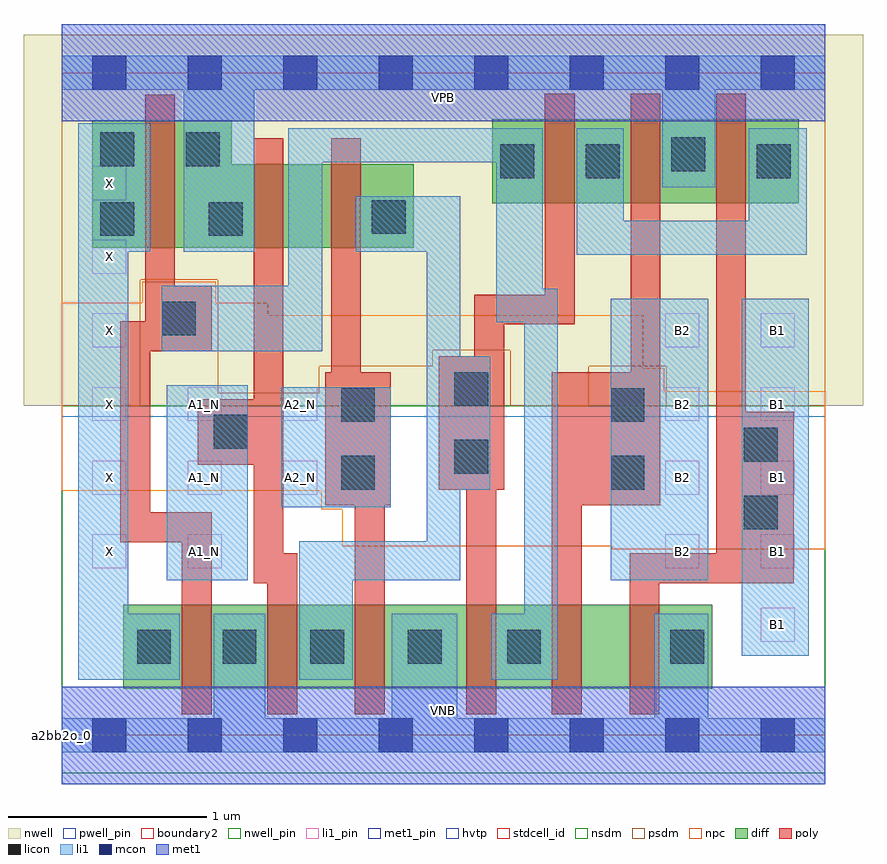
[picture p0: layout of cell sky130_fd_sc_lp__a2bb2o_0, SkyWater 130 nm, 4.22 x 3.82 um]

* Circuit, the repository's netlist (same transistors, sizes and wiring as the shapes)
* Copyright 2020 The SkyWater PDK Authors
*
* Licensed under the Apache License, Version 2.0 (the "License");
* you may not use this file except in compliance with the License.
* You may obtain a copy of the License at
*
*     https://www.apache.org/licenses/LICENSE-2.0
*
* Unless required by applicable law or agreed to in writing, software
* distributed under the License is distributed on an "AS IS" BASIS,
* WITHOUT WARRANTIES OR CONDITIONS OF ANY KIND, either express or implied.
* See the License for the specific language governing permissions and
* limitations under the License.
*
* SPDX-License-Identifier: Apache-2.0

.SUBCKT sky130_fd_sc_lp__a2bb2o_0 A1_N A2_N B1 B2 VGND VNB VPB VPWR X
*.PININFO A1_N:I A2_N:I B1:I B2:I VGND:I VNB:I VPB:I VPWR:I X:O
MMIN2 X y VGND VNB sky130_fd_pr__nfet_01v8 m=1 w=0.42U l=0.15U mult=1 sa=0.265
+ sb=0.265 sd=0.28 area=0.063 perim=1.14
MMNnor0 inor A1_N VGND VNB sky130_fd_pr__nfet_01v8 m=1 w=0.42U l=0.15U mult=1 sa=0.265
+ sb=0.265 sd=0.28 area=0.063 perim=1.14
MMNnor1 inor A2_N VGND VNB sky130_fd_pr__nfet_01v8 m=1 w=0.42U l=0.15U mult=1 sa=0.265
+ sb=0.265 sd=0.28 area=0.063 perim=1.14
MMNaoi10 VGND B1 sndNB1 VNB sky130_fd_pr__nfet_01v8 m=1 w=0.42U l=0.15U mult=1
+ sa=0.265 sb=0.265 sd=0.28 area=0.063 perim=1.14
MMNaoi11 sndNB1 B2 y VNB sky130_fd_pr__nfet_01v8 m=1 w=0.42U l=0.15U mult=1 sa=0.265
+ sb=0.265 sd=0.28 area=0.063 perim=1.14
MMNaoi20 y inor VGND VNB sky130_fd_pr__nfet_01v8 m=1 w=0.42U l=0.15U mult=1 sa=0.265
+ sb=0.265 sd=0.28 area=0.063 perim=1.14
MMIP2 X y VPWR VPB sky130_fd_pr__pfet_01v8_hvt m=1 w=0.64U l=0.15U mult=1 sa=0.265
+ sb=0.265 sd=0.28 area=0.063 perim=1.14
MMPnor0 VPWR A1_N sndPA1N VPB sky130_fd_pr__pfet_01v8_hvt m=1 w=0.42U l=0.15U mult=1
+ sa=0.265 sb=0.265 sd=0.28 area=0.063 perim=1.14
MMPnor1 sndPA1N A2_N inor VPB sky130_fd_pr__pfet_01v8_hvt m=1 w=0.42U l=0.15U mult=1
+ sa=0.265 sb=0.265 sd=0.28 area=0.063 perim=1.14
MMPaoi10 pmid B1 VPWR VPB sky130_fd_pr__pfet_01v8_hvt m=1 w=0.42U l=0.15U mult=1
+ sa=0.265 sb=0.265 sd=0.28 area=0.063 perim=1.14
MMPaoi11 pmid B2 VPWR VPB sky130_fd_pr__pfet_01v8_hvt m=1 w=0.42U l=0.15U mult=1
+ sa=0.265 sb=0.265 sd=0.28 area=0.063 perim=1.14
MMPaoi20 y inor pmid VPB sky130_fd_pr__pfet_01v8_hvt m=1 w=0.42U l=0.15U mult=1
+ sa=0.265 sb=0.265 sd=0.28 area=0.063 perim=1.14
.ENDS sky130_fd_sc_lp__a2bb2o_0

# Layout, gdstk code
import gdstk
lib = gdstk.Library(unit=1e-6, precision=1e-09)
def R(c, l, rs):  # rectangles x0, y0, x1, y1
    for r in rs: c.add(gdstk.rectangle(r[:2], r[2:], *l))
def A(c, l, x, y, w, h, nx, ny, dx, dy):  # array of equal rectangles
    R(c, l, [(x+i*dx, y+j*dy, x+i*dx+w, y+j*dy+h) for i in range(nx) for j in range(ny)])
def P(c, l, *ps):  # polygons
    for p in ps: c.add(gdstk.Polygon(p, *l))
nwell_pin = (64, 16)
nwell = (64, 20)
diff = (65, 20)
poly = (66, 20)
licon = (66, 44)
li1_pin = (67, 16)
li1 = (67, 20)
mcon = (67, 44)
met1_pin = (68, 16)
met1 = (68, 20)
hvtp = (78, 44)
stdcell_id = (81, 4)
nsdm = (93, 44)
psdm = (94, 20)
npc = (95, 20)
pwell_pin = (122, 16)
boundary2 = (236, 0)

sky130_fd_sc_lp__a2bb2o_ = lib.new_cell('sky130_fd_sc_lp__a2bb2o_0')
R(sky130_fd_sc_lp__a2bb2o_, nwell_pin, [(0,3.085,3.84,3.33)])
R(sky130_fd_sc_lp__a2bb2o_, nwell, [(-0.19,1.655,4.03,3.52)])
R(sky130_fd_sc_lp__a2bb2o_, diff, [(0.31,0.235,3.27,0.655), (2.165,2.675,3.705,3.095)])
P(sky130_fd_sc_lp__a2bb2o_, diff, [(1.77,2.87),(0.855,2.87),(0.855,3.09),(0.155,3.09),(0.155,2.45),(1.77,2.45)])
P(sky130_fd_sc_lp__a2bb2o_, poly, [(0.755,2.26),(0.57,2.26),(0.57,3.22),(0.42,3.22),(0.42,2.08),(0.295,2.08),(0.295,0.97),(0.605,0.97),(0.605,0.105),(0.755,0.105),(0.755,1.12),(0.445,1.12),(0.445,1.93),(0.755,1.93)],
  [(1.185,0.915),(1.115,0.915),(1.115,3),(0.965,3),(0.965,1.69),(0.685,1.69),(0.685,1.36),(0.965,1.36),(0.965,0.765),(1.035,0.765),(1.035,0.105),(1.185,0.105)],
  [(1.655,1.825),(1.505,1.825),(1.505,3),(1.355,3),(1.355,1.825),(1.325,1.825),(1.325,1.155),(1.475,1.155),(1.475,0.105),(1.625,0.105),(1.625,1.155),(1.655,1.155)],
  [(2.58,3.225),(2.43,3.225),(2.43,2.215),(2.075,2.215),(2.075,1.905),(1.895,1.905),(1.895,1.235),(2.035,1.235),(2.035,0.105),(2.185,0.105),(2.185,1.235),(2.225,1.235),(2.225,2.065),(2.58,2.065)],
  [(3.01,3.225),(2.86,3.225),(2.86,1.825),(2.465,1.825),(2.465,0.105),(2.615,0.105),(2.615,1.155),(3.01,1.155)],
  [(3.68,1.625),(3.44,1.625),(3.44,3.225),(3.29,3.225),(3.29,0.915),(2.855,0.915),(2.855,0.105),(3.005,0.105),(3.005,0.765),(3.68,0.765)])
R(sky130_fd_sc_lp__a2bb2o_, licon, [(0.38,0.36,0.55,0.53), (0.81,0.36,0.98,0.53), (1.25,0.36,1.42,0.53), (1.74,0.36,1.91,0.53), (2.24,0.36,2.41,0.53), (3.06,0.36,3.23,0.53), (3.43,1.035,3.6,1.205), (1.405,1.235,1.575,1.405), (2.76,1.235,2.93,1.405), (1.975,1.315,2.145,1.485), (3.43,1.375,3.6,1.545), (0.765,1.44,0.935,1.61), (1.405,1.575,1.575,1.745), (2.76,1.575,2.93,1.745), (1.975,1.655,2.145,1.825), (0.505,2.01,0.675,2.18), (0.195,2.51,0.365,2.68), (0.74,2.51,0.91,2.68), (1.56,2.52,1.73,2.69), (2.205,2.8,2.375,2.97), (2.635,2.8,2.805,2.97), (3.495,2.8,3.665,2.97), (3.065,2.835,3.235,3.005), (0.195,2.86,0.365,3.03), (0.625,2.86,0.795,3.03)])
A(sky130_fd_sc_lp__a2bb2o_, li1_pin, 3.515, 0.47, 0.17, 0.17, 1, 5, 0, 0.37)
A(sky130_fd_sc_lp__a2bb2o_, li1_pin, 3.035, 0.84, 0.17, 0.17, 1, 4, 0, 0.37)
A(sky130_fd_sc_lp__a2bb2o_, li1_pin, 0.155, 1.21, 0.17, 0.17, 3, 2, 0.48, 0.37)
A(sky130_fd_sc_lp__a2bb2o_, li1_pin, 0.155, 1.95, 0.17, 0.17, 1, 3, 0, 0.37)
R(sky130_fd_sc_lp__a2bb2o_, li1_pin, [(0.155,0.84,0.325,1.01), (0.635,0.84,0.805,1.01)])
R(sky130_fd_sc_lp__a2bb2o_, li1, [(3.42,0.4,3.755,2.195), (0.53,0.78,0.935,1.76), (2.76,0.78,3.25,2.195), (1.105,1.145,1.655,1.75)])
P(sky130_fd_sc_lp__a2bb2o_, li1, [(0.595,0.61),(0.335,0.61),(0.335,2.43),(0.445,2.43),(0.445,3.075),(0.085,3.075),(0.085,0.28),(0.595,0.28)],
  [(2.155,1.905),(2.005,1.905),(2.005,2.71),(1.48,2.71),(1.48,2.43),(1.835,2.43),(1.835,0.975),(1.195,0.975),(1.195,0.28),(1.465,0.28),(1.465,0.78),(2.005,0.78),(2.005,1.235),(2.155,1.235)],
  [(2.495,2.245),(2.42,2.245),(2.42,3.05),(1.14,3.05),(1.14,2.26),(0.505,2.26),(0.505,1.93),(1.31,1.93),(1.31,2.88),(2.185,2.88),(2.185,2.075),(2.325,2.075),(2.325,0.61),(2.16,0.61),(2.16,0.28),(2.495,0.28)],
  [(3.745,3.05),(3.455,3.05),(3.455,2.585),(2.825,2.585),(2.825,3.05),(2.59,3.05),(2.59,2.415),(3.745,2.415)],
  [(3.84,3.415),(0,3.415),(0,3.245),(0.615,3.245),(0.615,2.43),(0.97,2.43),(0.97,3.245),(3.02,3.245),(3.02,2.755),(3.285,2.755),(3.285,3.245),(3.84,3.245)],
  [(3.84,0.085),(3.25,0.085),(3.25,0.61),(2.98,0.61),(2.98,0.085),(1.99,0.085),(1.99,0.61),(1.66,0.61),(1.66,0.085),(1.025,0.085),(1.025,0.61),(0.765,0.61),(0.765,0.085),(0,0.085),(0,-0.085),(3.84,-0.085)])
A(sky130_fd_sc_lp__a2bb2o_, mcon, 0.155, -0.085, 0.17, 0.17, 8, 2, 0.48, 3.33)
R(sky130_fd_sc_lp__a2bb2o_, met1_pin, [(0,0,3.84,0.245), (0,3.085,3.84,3.33)])
R(sky130_fd_sc_lp__a2bb2o_, met1, [(0,-0.245,3.84,0.245), (0,3.085,3.84,3.575)])
R(sky130_fd_sc_lp__a2bb2o_, hvtp, [(0,1.6,3.84,3.33)])
R(sky130_fd_sc_lp__a2bb2o_, stdcell_id, [(0,0,3.84,3.33)])
R(sky130_fd_sc_lp__a2bb2o_, nsdm, [(0,-0.19,3.84,1.655)])
P(sky130_fd_sc_lp__a2bb2o_, psdm, [(3.84,3.52),(0,3.52),(0,1.655),(0.395,1.655),(0.395,2.29),(0.785,2.29),(0.785,1.72),(1.295,1.72),(1.295,1.855),(1.865,1.855),(1.865,1.935),(2.255,1.935),(2.255,1.655),(2.65,1.655),(2.65,1.855),(3.04,1.855),(3.04,1.655),(3.84,1.655)])
P(sky130_fd_sc_lp__a2bb2o_, npc, [(3.84,1.73),(3.03,1.73),(3.03,1.845),(2.925,1.845),(2.925,2.11),(1.04,2.11),(1.04,2.175),(0.775,2.175),(0.775,2.28),(0.405,2.28),(0.405,2.175),(0,2.175),(0,1.23),(1.305,1.23),(1.305,1.135),(1.41,1.135),(1.41,0.95),(2.765,0.95),(2.765,0.935),(3.84,0.935)])
R(sky130_fd_sc_lp__a2bb2o_, pwell_pin, [(0,0,3.84,0.245)])
R(sky130_fd_sc_lp__a2bb2o_, boundary2, [(0,0,3.84,3.33)])
sky130_fd_sc_lp__a2bb2o_.add(gdstk.Label('VNB', (1.92,0.123), layer=64, texttype=59))
sky130_fd_sc_lp__a2bb2o_.add(gdstk.Label('VPB', (1.92,3.208), layer=64, texttype=5))
sky130_fd_sc_lp__a2bb2o_.add(gdstk.Label('a2bb2o_0', (0,0), layer=83, texttype=44))
sky130_fd_sc_lp__a2bb2o_.add(gdstk.Label('VPWR', (1.92,3.208), layer=68, texttype=5))
sky130_fd_sc_lp__a2bb2o_.add(gdstk.Label('VGND', (1.92,0.123), layer=68, texttype=5))
sky130_fd_sc_lp__a2bb2o_.add(gdstk.Label('A1_N', (0.72,0.925), layer=67, texttype=5))
sky130_fd_sc_lp__a2bb2o_.add(gdstk.Label('A1_N', (0.72,1.295), layer=67, texttype=5))
sky130_fd_sc_lp__a2bb2o_.add(gdstk.Label('A1_N', (0.72,1.665), layer=67, texttype=5))
sky130_fd_sc_lp__a2bb2o_.add(gdstk.Label('A2_N', (1.2,1.295), layer=67, texttype=5))
sky130_fd_sc_lp__a2bb2o_.add(gdstk.Label('A2_N', (1.2,1.665), layer=67, texttype=5))
sky130_fd_sc_lp__a2bb2o_.add(gdstk.Label('B1', (3.6,0.555), layer=67, texttype=5))
sky130_fd_sc_lp__a2bb2o_.add(gdstk.Label('B1', (3.6,0.925), layer=67, texttype=5))
sky130_fd_sc_lp__a2bb2o_.add(gdstk.Label('B1', (3.6,1.295), layer=67, texttype=5))
sky130_fd_sc_lp__a2bb2o_.add(gdstk.Label('B1', (3.6,1.665), layer=67, texttype=5))
sky130_fd_sc_lp__a2bb2o_.add(gdstk.Label('B1', (3.6,2.035), layer=67, texttype=5))
sky130_fd_sc_lp__a2bb2o_.add(gdstk.Label('B2', (3.12,0.925), layer=67, texttype=5))
sky130_fd_sc_lp__a2bb2o_.add(gdstk.Label('B2', (3.12,1.295), layer=67, texttype=5))
sky130_fd_sc_lp__a2bb2o_.add(gdstk.Label('B2', (3.12,1.665), layer=67, texttype=5))
sky130_fd_sc_lp__a2bb2o_.add(gdstk.Label('B2', (3.12,2.035), layer=67, texttype=5))
sky130_fd_sc_lp__a2bb2o_.add(gdstk.Label('X', (0.24,0.925), layer=67, texttype=5))
sky130_fd_sc_lp__a2bb2o_.add(gdstk.Label('X', (0.24,1.295), layer=67, texttype=5))
sky130_fd_sc_lp__a2bb2o_.add(gdstk.Label('X', (0.24,1.665), layer=67, texttype=5))
sky130_fd_sc_lp__a2bb2o_.add(gdstk.Label('X', (0.24,2.035), layer=67, texttype=5))
sky130_fd_sc_lp__a2bb2o_.add(gdstk.Label('X', (0.24,2.405), layer=67, texttype=5))
sky130_fd_sc_lp__a2bb2o_.add(gdstk.Label('X', (0.24,2.775), layer=67, texttype=5))

lib.write_gds('sky130_fd_sc_lp__a2bb2o_0.gds')
